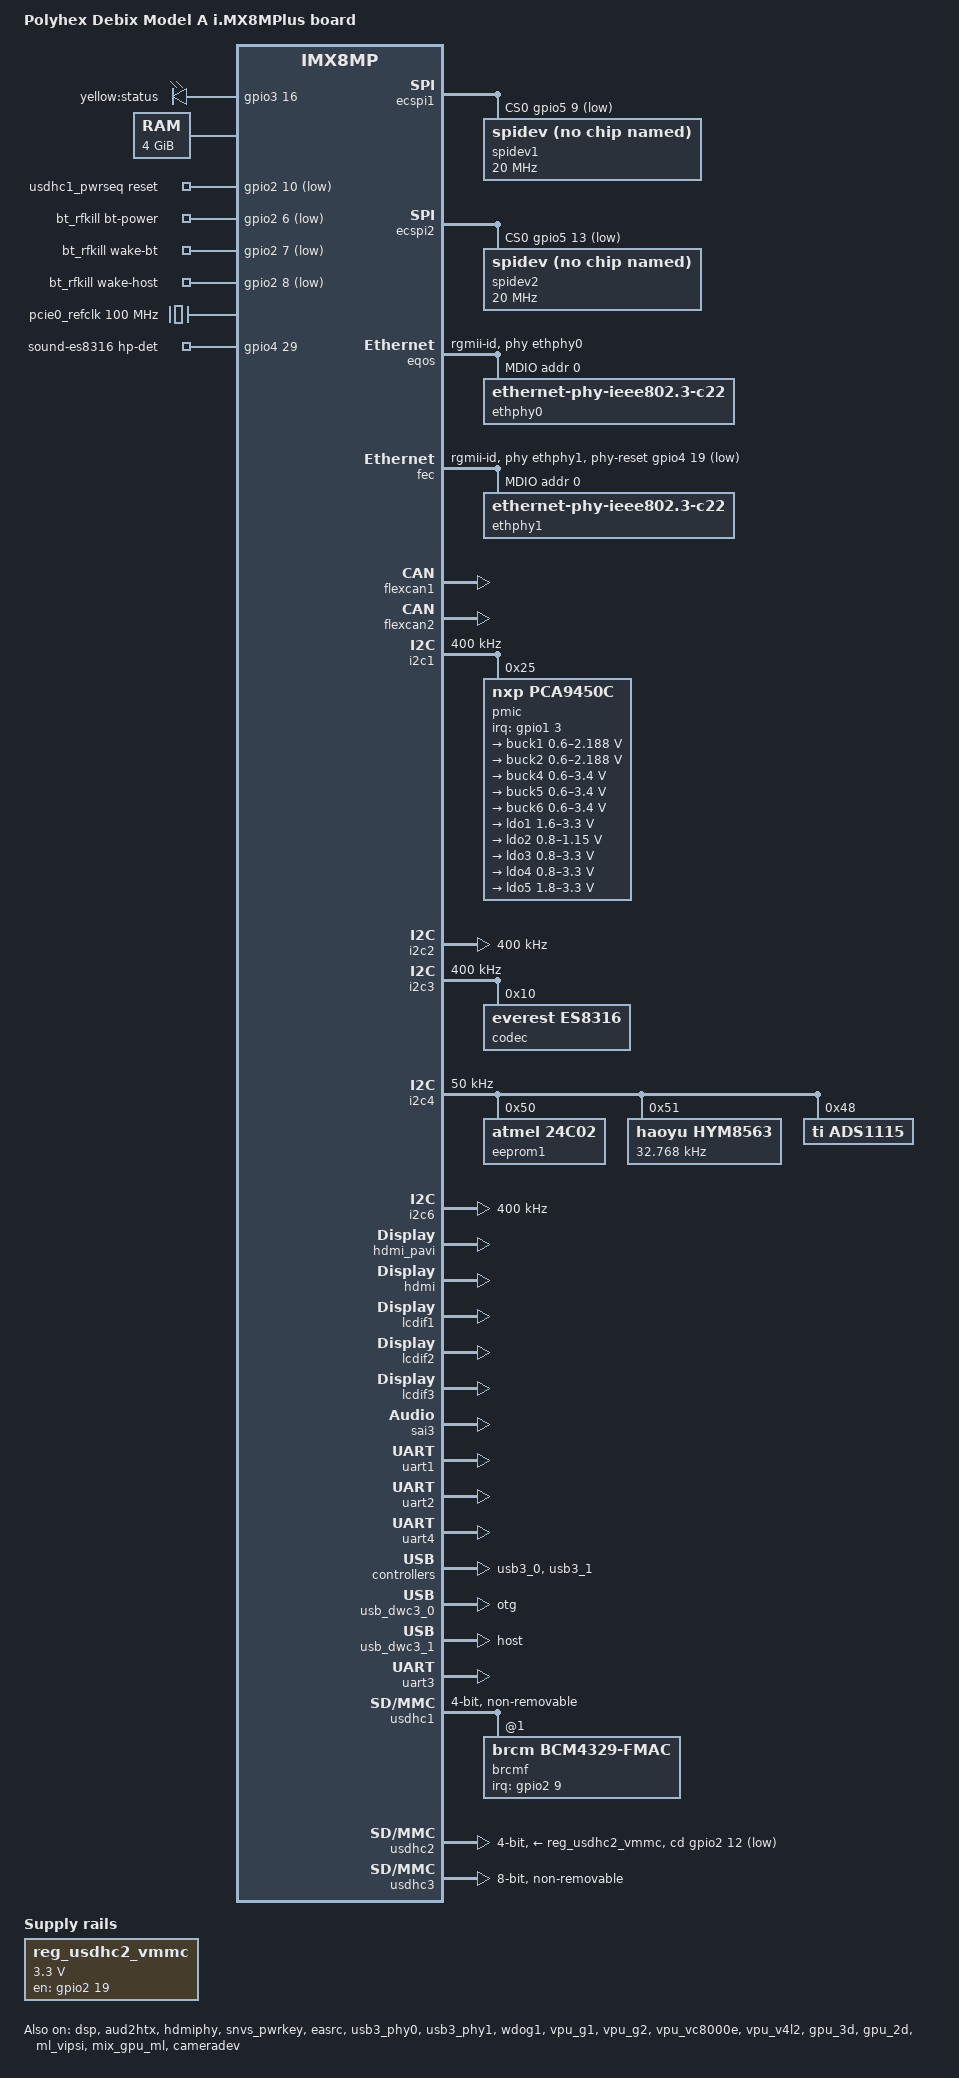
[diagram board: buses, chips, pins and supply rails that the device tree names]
// SPDX-License-Identifier: (GPL-2.0+ OR MIT)
/*
 * Copyright 2019 NXP
 */

/dts-v1/;

#include <dt-bindings/phy/phy-imx8-pcie.h>
#include <dt-bindings/usb/pd.h>

#include "imx8mp.dtsi"

/ {
	model = "Polyhex Debix Model A i.MX8MPlus board";
	compatible = "polyhex,imx8mp-debix-model-a", "polyhex,imx8mp-debix", "fsl,imx8mp";

	chosen {
		stdout-path = &uart2;
	};

	gpio-leds {
		compatible = "gpio-leds";
		pinctrl-names = "default";
		pinctrl-0 = <&pinctrl_gpio_led>;

		status {
			label = "yellow:status";
			gpios = <&gpio3 16 GPIO_ACTIVE_HIGH>;
			default-state = "on";
		};
	};
//4GB ddr
	memory@40000000 {
		device_type = "memory";
		reg = <0x0 0x40000000 0 0xc0000000>,
		      <0x1 0x00000000 0 0x40000000>;
	};

	usdhc1_pwrseq: usdhc1_pwrseq {
		compatible = "mmc-pwrseq-simple";
		pinctrl-names = "default";
		pinctrl-0 = <&pinctrl_wlan_reg_on>;  
		reset-gpios = <&gpio2 10 GPIO_ACTIVE_LOW>;
  	};

	bt_rfkill {
		compatible = "fsl,mxc_bt_rfkill";
		pinctrl-names = "default";
		pinctrl-0 = <&pinctrl_bt_ctrl>;
		bt-power-gpios = <&gpio2 6 GPIO_ACTIVE_LOW>;
		wake-bt-gpios =  <&gpio2 7 GPIO_ACTIVE_LOW>;
		wake-host-gpios = <&gpio2 8 GPIO_ACTIVE_LOW>;
		status ="okay";
	};

	pcie0_refclk: pcie0-refclk {
		compatible = "fixed-clock";
		#clock-cells = <0>;
		clock-frequency = <100000000>;
	};
 


	reg_usdhc2_vmmc: regulator-usdhc2 {
		compatible = "regulator-fixed";
		pinctrl-names = "default";
		pinctrl-0 = <&pinctrl_reg_usdhc2_vmmc>;
		regulator-name = "VSD_3V3";
		regulator-min-microvolt = <3300000>;
		regulator-max-microvolt = <3300000>;
		gpio = <&gpio2 19 GPIO_ACTIVE_HIGH>;
		enable-active-high;
	};

	sound-es8316 {
		compatible = "fsl,imx-audio-es8316";
		model = "es8316-audio";
		audio-cpu = <&sai3>;
		audio-codec = <&codec>;
		//audio-asrc = <&easrc>;
		format = "i2s";
		hp-det-gpio = <&gpio4 29 GPIO_ACTIVE_HIGH>;
	//	mic-det-gpio = <&gpio4 29 GPIO_ACTIVE_HIGH>;
		//jack-gpio = <&gpio4 29 GPIO_ACTIVE_HIGH>;
		//audio-widgets = 
			//"Microphone", "Mic Jack",
			//"Headphone", "Headphone Jack";

		audio-routing =
			"Mic Jack", "MIC2",
			//"MIC2", "Mic Jack",
			//"MIC2", "DMIC",
			"Headphone Jack", "HPOL",
			"Headphone Jack", "HPOR";
	};

	sound-hdmi {
		compatible = "fsl,imx-audio-hdmi";
		model = "audio-hdmi";
		audio-cpu = <&aud2htx>;
		hdmi-out;
	};

	reserved-memory {
		#address-cells = <2>;
		#size-cells = <2>;
		ranges;

		dsp_vdev0vring0: vdev0vring0@942f0000 {
			reg = <0 0x942f0000 0 0x8000>;
			no-map;
		};

		dsp_vdev0vring1: vdev0vring1@942f8000 {
			reg = <0 0x942f8000 0 0x8000>;
			no-map;
		};

		dsp_vdev0buffer: vdev0buffer@94300000 {
			compatible = "shared-dma-pool";
			reg = <0 0x94300000 0 0x100000>;
			no-map;
		};
	};
	lvds_backlight: lvds_backlight {
		compatible = "pwm-backlight";
		pwms = <&pwm2 0 100000 0>;
		status = "disabled";

		brightness-levels = < 0  1  2  3  4  5  6  7  8  9
				     10 11 12 13 14 15 16 17 18 19
				     20 21 22 23 24 25 26 27 28 29
				     30 31 32 33 34 35 36 37 38 39
				     40 41 42 43 44 45 46 47 48 49
				     50 51 52 53 54 55 56 57 58 59
				     60 61 62 63 64 65 66 67 68 69
				     70 71 72 73 74 75 76 77 78 79
				     80 81 82 83 84 85 86 87 88 89
				     90 91 92 93 94 95 96 97 98 99
				    100>;
		default-brightness-level = <80>;
	};
	lvds0_panel: lvds0_panel {
                status = "disabled";
                compatible = "debix,JW050R0320I01";
                pinctrl-names = "default";
                pinctrl-0 = <&pinctrl_lvds_en>;
                enable-gpios = <&gpio5 4 GPIO_ACTIVE_HIGH>;

                backlight = <&lvds_backlight>;
                port {
                        panel_lvds_in: endpoint {
                        remote-endpoint = <&lvds_out>;
                        };
                };

        };
};

&flexspi {
	pinctrl-names = "default";
	pinctrl-0 = <&pinctrl_flexspi0>;
	status = "disabled";

	flash@0 {
		compatible = "jedec,spi-nor";
		reg = <0>;
		spi-max-frequency = <80000000>;
		spi-tx-bus-width = <1>;
		spi-rx-bus-width = <4>;
	};
};

&A53_0 {
	cpu-supply = <&buck2>;
};

&A53_1 {
	cpu-supply = <&buck2>;
};

&A53_2 {
	cpu-supply = <&buck2>;
};

&A53_3 {
	cpu-supply = <&buck2>;
};

&dsp {
	status = "okay";
};

&pwm2 {
        pinctrl-names = "default";
        pinctrl-0 = <&pinctrl_pwm2>;
        status = "disabled";
};

&aud2htx {
	status = "okay";
};

&ecspi1 {
	#address-cells = <1>;
	#size-cells = <0>;
	fsl,spi-num-chipselects = <1>;
	pinctrl-names = "default";
	pinctrl-0 = <&pinctrl_ecspi1 &pinctrl_ecspi1_cs>;
	cs-gpios = <&gpio5 9 GPIO_ACTIVE_LOW>;
	status = "okay";
	spidev1: spi@0 {
		reg = <0>;
		compatible = "rohm,dh2228fv";
		spi-max-frequency = <20000000>;
	};
};

&ecspi2 {
	#address-cells = <1>;
	#size-cells = <0>;
	fsl,spi-num-chipselects = <1>;
	pinctrl-names = "default";
	pinctrl-0 = <&pinctrl_ecspi2 &pinctrl_ecspi2_cs>;
	cs-gpios = <&gpio5 13 GPIO_ACTIVE_LOW>;
	status = "okay";

	spidev2: spi@0 {
		reg = <0>;
		compatible = "rohm,dh2228fv";
		spi-max-frequency = <20000000>;
	};
};

&eqos {
	pinctrl-names = "default";
	pinctrl-0 = <&pinctrl_eqos>;
	phy-mode = "rgmii-id";
	phy-handle = <&ethphy0>;
	snps,force_thresh_dma_mode;
	snps,mtl-tx-config = <&mtl_tx_setup>;
	snps,mtl-rx-config = <&mtl_rx_setup>;
	snps,reset-gpios = <&gpio4 18 GPIO_ACTIVE_LOW>;
	snps,reset-delays-us = <10 20 200000>;
	status = "okay";

	mdio {
		compatible = "snps,dwmac-mdio";
		#address-cells = <1>;
		#size-cells = <0>;

		ethphy0: ethernet-phy@0 {
			compatible = "ethernet-phy-ieee802.3-c22";
			reg = <0>;
			//reset-gpios = <&gpio4 22 GPIO_ACTIVE_LOW>;
			//reset-assert-us = <10000>;
			//reset-deassert-us = <80000>;
			//realtek,clkout-disable;
			at803x,led-act-blind-workaround;
			at803x,eee-disabled;
			at803x,vddio-1p8v;
		};
	};

	mtl_tx_setup: tx-queues-config {
		snps,tx-queues-to-use = <5>;

		queue0 {
			snps,dcb-algorithm;
			snps,priority = <0x1>;
		};

		queue1 {
			snps,dcb-algorithm;
			snps,priority = <0x2>;
		};

		queue2 {
			snps,dcb-algorithm;
			snps,priority = <0x4>;
		};

		queue3 {
			snps,dcb-algorithm;
			snps,priority = <0x8>;
		};

		queue4 {
			snps,dcb-algorithm;
			snps,priority = <0xf0>;
		};
	};

	mtl_rx_setup: rx-queues-config {
		snps,rx-queues-to-use = <5>;
		snps,rx-sched-sp;

		queue0 {
			snps,dcb-algorithm;
			snps,priority = <0x1>;
			snps,map-to-dma-channel = <0>;
		};

		queue1 {
			snps,dcb-algorithm;
			snps,priority = <0x2>;
			snps,map-to-dma-channel = <1>;
		};

		queue2 {
			snps,dcb-algorithm;
			snps,priority = <0x4>;
			snps,map-to-dma-channel = <2>;
		};

		queue3 {
			snps,dcb-algorithm;
			snps,priority = <0x8>;
			snps,map-to-dma-channel = <3>;
		};

		queue4 {
			snps,dcb-algorithm;
			snps,priority = <0xf0>;
			snps,map-to-dma-channel = <4>;
		};
	};
};

&fec {
	pinctrl-names = "default";
	pinctrl-0 = <&pinctrl_fec>;
	phy-mode = "rgmii-id";
	phy-handle = <&ethphy1>;
	fsl,magic-packet;
	fsl,rgmii_rxc_dly;
	phy-reset-gpios = <&gpio4 19 GPIO_ACTIVE_LOW>;
	phy-reset-duration = <10>;
	phy-reset-post-delay = <150>;
	status = "okay";

	mdio {
		#address-cells = <1>;
		#size-cells = <0>;

		ethphy1: ethernet-phy@0 {
			compatible = "ethernet-phy-ieee802.3-c22";
			reg = <0>;
			//eee-broken-1000t;
			//reset-gpios = <&gpio4 2 GPIO_ACTIVE_LOW>;
			//reset-assert-us = <10000>;
			//reset-deassert-us = <80000>;
			//realtek,aldps-enable;
			//realtek,clkout-disable;
			at803x,led-act-blind-workaround;
			at803x,eee-disabled;
			at803x,vddio-1p8v;
		};
	};
};

&flexcan1 {
	pinctrl-names = "default";
	pinctrl-0 = <&pinctrl_flexcan1>;
	//xceiver-supply = <&reg_can1_stby>;
	status = "okay";
};

&flexcan2 {
	pinctrl-names = "default";
	pinctrl-0 = <&pinctrl_flexcan2>;
	//xceiver-supply = <&reg_can2_stby>;
	//pinctrl-assert-gpios = <&pca6416 3 GPIO_ACTIVE_HIGH>;
	status = "okay";/* can2 pin conflict with pdm */
};

&i2c1 {
	clock-frequency = <400000>;
	pinctrl-names = "default";
	pinctrl-0 = <&pinctrl_i2c1>;
	status = "okay";

	pmic@25 {
		compatible = "nxp,pca9450c";
		reg = <0x25>;
		pinctrl-names = "default";
		pinctrl-0 = <&pinctrl_pmic>;
		interrupt-parent = <&gpio1>;
		interrupts = <3 IRQ_TYPE_LEVEL_LOW>;

		regulators {
			buck1: BUCK1 {
				regulator-name = "BUCK1";
				regulator-min-microvolt = <600000>;
				regulator-max-microvolt = <2187500>;
				regulator-boot-on;
				regulator-always-on;
				regulator-ramp-delay = <3125>;
			};

			buck2: BUCK2 {
				regulator-name = "BUCK2";
				regulator-min-microvolt = <600000>;
				regulator-max-microvolt = <2187500>;
				regulator-boot-on;
				regulator-always-on;
				regulator-ramp-delay = <3125>;
				nxp,dvs-run-voltage = <950000>;
				nxp,dvs-standby-voltage = <850000>;
			};

			buck4: BUCK4{
				regulator-name = "BUCK4";
				regulator-min-microvolt = <600000>;
				regulator-max-microvolt = <3400000>;
				regulator-boot-on;
				regulator-always-on;
			};

			buck5: BUCK5{
				regulator-name = "BUCK5";
				regulator-min-microvolt = <600000>;
				regulator-max-microvolt = <3400000>;
				regulator-boot-on;
				regulator-always-on;
			};

			buck6: BUCK6 {
				regulator-name = "BUCK6";
				regulator-min-microvolt = <600000>;
				regulator-max-microvolt = <3400000>;
				regulator-boot-on;
				regulator-always-on;
			};

			ldo1: LDO1 {
				regulator-name = "LDO1";
				regulator-min-microvolt = <1600000>;
				regulator-max-microvolt = <3300000>;
				regulator-boot-on;
				regulator-always-on;
			};

			ldo2: LDO2 {
				regulator-name = "LDO2";
				regulator-min-microvolt = <800000>;
				regulator-max-microvolt = <1150000>;
				regulator-boot-on;
				regulator-always-on;
			};

			ldo3: LDO3 {
				regulator-name = "LDO3";
				regulator-min-microvolt = <800000>;
				regulator-max-microvolt = <3300000>;
				regulator-boot-on;
				regulator-always-on;
			};

			ldo4: LDO4 {
				regulator-name = "LDO4";
				regulator-min-microvolt = <800000>;
				regulator-max-microvolt = <3300000>;
				regulator-boot-on;
				regulator-always-on;
			};

			ldo5: LDO5 {
				regulator-name = "LDO5";
				regulator-min-microvolt = <1800000>;
				regulator-max-microvolt = <3300000>;
				regulator-boot-on;
				regulator-always-on;
			};
		};
	};
};

&i2c2 {
	clock-frequency = <400000>;
	pinctrl-names = "default";
	pinctrl-0 = <&pinctrl_i2c2>;
	status = "okay";

};

&i2c3 {
	clock-frequency = <400000>;
	pinctrl-names = "default";
	pinctrl-0 = <&pinctrl_i2c3>;
	status = "okay";

	codec: es8316@10 {
		compatible = "everest,es8316";
		reg = <0x10>;
		clocks = <&audio_blk_ctrl IMX8MP_CLK_AUDIOMIX_SAI3_MCLK1>;
		clock-names = "mclk";
	};
};

&i2c4 {
	clock-frequency = <50000>;
	pinctrl-names = "default";
	pinctrl-0 = <&pinctrl_i2c4>;
	status = "okay";
	
	eeprom1: eeprom@50 {
		compatible = "atmel,24c02";
		reg = <0x50>;
		pagesize = <16>;
	};
	
	hym8563: hym8563@51 {
		compatible = "haoyu,hym8563";
		reg = <0x51>;
		#clock-cells = <0>;
		clock-frequency = <32768>;
		clock-output-names = "xin32k";
		init_date="2022/04/12";
		//interrupt-parent = <&gpio2>;
		//interrupts = <11 IRQ_TYPE_EDGE_FALLING>;
		
		//pinctrl-names = "default";
		//pinctrl-0 = <&pinctrl_rtc_int>;
	};
	ads1115: ads1115@48 {
		 compatible = "ti,ads1115";
		 status = "okay";
		 #address-cells = <1>;
		 #size-cells = <0>;
		 reg = <0x48>;

		 channel@4 {
			 reg = <4>;
			 ti,gain = <1>;
			 ti,datarate = <4>;
		 };
		 channel@5 {
			 reg = <5>;
			 ti,gain = <1>;
			 ti,datarate = <4>;
		 };
		 channel@3 {
			 reg = <3>;
			 ti,gain = <1>;
			 ti,datarate = <4>;
		 };
		 channel@6 {
			 reg = <6>;
			 ti,gain = <1>;
			 ti,datarate = <4>;
		 };

		 channel@7 {
			 reg = <7>;
			 ti,gain = <1>;
			 ti,datarate = <4>;
		 };
	 };

};

#if 0
/* I2C on expansion connector J22. */
&i2c5 {
	clock-frequency = <100000>; /* Lower clock speed for external bus. */
	pinctrl-names = "default";
	pinctrl-0 = <&pinctrl_i2c5>;
	status = "disabled"; /* can1 pins conflict with i2c5 */

	/* GPIO 2 of PCA6416 is used to switch between CAN1 and I2C5 functions:
	 *     LOW:  CAN1 (default, pull-down)
	 *     HIGH: I2C5
	 * You need to set it to high to enable I2C5 (for example, add gpio-hog
	 * in pca6416 node).
	 */
};
#endif
&i2c6 {
	clock-frequency = <400000>;
	pinctrl-names = "default";
	pinctrl-0 = <&pinctrl_i2c6>;
	status = "okay";
};

&hdmi_pavi {
	status = "okay";
};

&hdmi {
	status = "okay";
};

&hdmiphy {
	status = "okay";
};

&lcdif1 {
	status = "okay";
};

&lcdif2 {
	status = "okay";
};

&lcdif3 {
	status = "okay";

	thres-low  = <1 2>;             /* (FIFO * 1 / 2) */
	thres-high = <3 4>;             /* (FIFO * 3 / 4) */
};

&ldb {
	status = "disabled";
	lvds-channel@0 {
                //fsl,data-mapping = "jeida";
                //fsl,data-mappin  = "spwg";
                //fsl,data-width = <18>;
                //fsl,data-width = <24>;
                //status = "okay";

                /delete-node/ port@1;

                port@1 {
                        reg = <1>;

                        lvds_out: endpoint {
                                remote-endpoint = <&panel_lvds_in>;
                        };
                };
        };


};

&ldb_phy {
	status = "disabled";
};

&mipi_dsi {
	status = "disabled";
};

&pcie_phy {
	fsl,refclk-pad-mode = <IMX8_PCIE_REFCLK_PAD_INPUT>;
	clocks = <&pcie0_refclk>;
	clock-names = "ref";
	status = "disabled";
};

&pcie {
	pinctrl-names = "default";
	pinctrl-0 = <&pinctrl_pcie0>;
	reset-gpio = <&gpio4 27 GPIO_ACTIVE_LOW>;
	//host-wake-gpio = <&gpio5 21 GPIO_ACTIVE_LOW>;
	//vpcie-supply = <&reg_pcie0>;
	status = "disabled";
};

&pwm1 {
	pinctrl-names = "default";
	pinctrl-0 = <&pinctrl_pwm1>;
	status = "disabled";
};
&sai3 {
	pinctrl-names = "default";
	pinctrl-0 = <&pinctrl_sai3>;
	assigned-clocks = <&clk IMX8MP_CLK_SAI3>;
	assigned-clock-parents = <&clk IMX8MP_AUDIO_PLL1_OUT>;
	assigned-clock-rates = <12288000>;
	clocks = <&audio_blk_ctrl IMX8MP_CLK_AUDIOMIX_SAI3_IPG>, <&clk IMX8MP_CLK_DUMMY>,
		 <&audio_blk_ctrl IMX8MP_CLK_AUDIOMIX_SAI3_MCLK1>, <&clk IMX8MP_CLK_DUMMY>,
		 <&clk IMX8MP_CLK_DUMMY>;
	clock-names = "bus", "mclk0", "mclk1", "mclk2", "mclk3";
	fsl,sai-mclk-direction-output;
	status = "okay";
};

&snvs_pwrkey {
	status = "okay";
};

&easrc {
	fsl,asrc-rate  = <48000>;
	status = "okay";
};

&sdma2 {
	status = "okay";
};

&uart1 { /* BT */
	pinctrl-names = "default";
	pinctrl-0 = <&pinctrl_uart1>;
	assigned-clocks = <&clk IMX8MP_CLK_UART1>;
	assigned-clock-parents = <&clk IMX8MP_SYS_PLL1_80M>;
	uart-has-rtscts;
	status = "okay";

//	bluetooth {
//		compatible = "nxp,88w8997-bt";
//	};
};

&uart2 {
	/* console */
	pinctrl-names = "default";
	pinctrl-0 = <&pinctrl_uart2>;
	status = "okay";
};

&uart4 {
	pinctrl-names = "default";
	pinctrl-0 = <&pinctrl_uart4>;
	status = "okay";
};

&usb3_phy0 {
#if 0
	fsl,phy-tx-vref-tune-percent = <122>;
	fsl,phy-tx-preemp-amp-tune-microamp = <1800>;
	fsl,phy-tx-vboost-level-microvolt = <1156>;
	fsl,phy-comp-dis-tune-percent = <115>;
	fsl,phy-pcs-tx-deemph-3p5db-attenuation-db = <33>;
	fsl,phy-pcs-tx-swing-full-percent = <100>;
#endif
	status = "okay";
};

&usb3_0 {
	status = "okay";
};

&usb_dwc3_0 {
	dr_mode = "otg";
	hnp-disable;
	srp-disable;
	adp-disable;
	usb-role-switch;
//	role-switch-default-mode = "none";
	snps,dis-u1-entry-quirk;
	snps,dis-u2-entry-quirk;
	status = "okay";

};

&usb3_phy1 {
	fsl,phy-tx-preemp-amp-tune-microamp = <1800>;
	fsl,phy-tx-vref-tune-percent = <116>;
	status = "okay";
};

&usb3_1 {
	status = "okay";
};

&usb_dwc3_1 {
	//vbus-supply = <&reg_usb_vbus>;
	pinctrl-names = "default";
	pinctrl-0 = <&pinctrl_usb1_vbus>;
	hub-pwd-gpio = <&gpio4 26 GPIO_ACTIVE_LOW>;
	hub-reset-gpio = <&gpio4 25 GPIO_ACTIVE_LOW>;
	dr_mode = "host";
	status = "okay";
};

&uart3 {
	pinctrl-names = "default";
	pinctrl-0 = <&pinctrl_uart3>;
	status = "okay";
};

/*WIFI BUS */
&usdhc1 {
	#address-cells = <1>;
	#size-cells = <0>;
	pinctrl-names = "default", "state_100mhz", "state_200mhz";
	pinctrl-0 = <&pinctrl_usdhc1>, <&pinctrl_wlan_wake_host>;
	pinctrl-1 = <&pinctrl_usdhc1_100mhz>, <&pinctrl_wlan_wake_host>;
	pinctrl-2 = <&pinctrl_usdhc1_200mhz>, <&pinctrl_wlan_wake_host>;
	bus-width = <4>;
	pm-ignore-notify;
	keep-power-in-suspend;
	non-removable;
	cap-power-off-card;
	/delete-property/ vmmc-supply;
	mmc-pwrseq = <&usdhc1_pwrseq>;
	status = "okay";
	max-frequency = <100000000>;

	brcmf: bcrmf@1 {
		reg = <1>;
		compatible = "brcm,bcm4329-fmac";
		interrupt-parent = <&gpio2>;
		interrupts = <9 IRQ_TYPE_LEVEL_HIGH>; //wlan wake host
		interrupt-names = "host-wake";
	};
};

/*TF Card */
&usdhc2 {
	assigned-clocks = <&clk IMX8MP_CLK_USDHC2>;
	assigned-clock-rates = <400000000>;
	pinctrl-names = "default", "state_100mhz", "state_200mhz";
	pinctrl-0 = <&pinctrl_usdhc2>, <&pinctrl_usdhc2_gpio>;
	pinctrl-1 = <&pinctrl_usdhc2_100mhz>, <&pinctrl_usdhc2_gpio>;
	pinctrl-2 = <&pinctrl_usdhc2_200mhz>, <&pinctrl_usdhc2_gpio>;
	cd-gpios = <&gpio2 12 GPIO_ACTIVE_LOW>;
	vmmc-supply = <&reg_usdhc2_vmmc>;
	bus-width = <4>;
	status = "okay";
};

/*emmc*/
&usdhc3 {
	assigned-clocks = <&clk IMX8MP_CLK_USDHC3>;
	assigned-clock-rates = <400000000>;
	pinctrl-names = "default", "state_100mhz", "state_200mhz";
	pinctrl-0 = <&pinctrl_usdhc3>;
	pinctrl-1 = <&pinctrl_usdhc3_100mhz>;
	pinctrl-2 = <&pinctrl_usdhc3_200mhz>;
	bus-width = <8>;
	non-removable;
	status = "okay";
};

&wdog1 {
	pinctrl-names = "default";
	pinctrl-0 = <&pinctrl_wdog>;
	fsl,ext-reset-output;
	status = "okay";
};

&iomuxc {
	pinctrl-names = "default";
	pinctrl-0 = <&pinctrl_hog>;
 
	pinctrl_ecspi1: ecspi1grp {
		fsl,pins = <
			MX8MP_IOMUXC_ECSPI1_SCLK__ECSPI1_SCLK		0x82
			MX8MP_IOMUXC_ECSPI1_MOSI__ECSPI1_MOSI		0x82
			MX8MP_IOMUXC_ECSPI1_MISO__ECSPI1_MISO		0x82
		>;
	};
	
	pinctrl_ecspi1_cs: ecspi1cs {
		fsl,pins = <
			MX8MP_IOMUXC_ECSPI1_SS0__GPIO5_IO09		0x40000
		>;
	};
	pinctrl_ecspi2: ecspi2grp {
		fsl,pins = <
			MX8MP_IOMUXC_ECSPI2_SCLK__ECSPI2_SCLK		0x82
			MX8MP_IOMUXC_ECSPI2_MOSI__ECSPI2_MOSI		0x82
			MX8MP_IOMUXC_ECSPI2_MISO__ECSPI2_MISO		0x82
		>;
	};

	pinctrl_ecspi2_cs: ecspi2cs {
		fsl,pins = <
			MX8MP_IOMUXC_ECSPI2_SS0__GPIO5_IO13		0x40000
		>;
	};

	pinctrl_eqos: eqosgrp {
		fsl,pins = <
			MX8MP_IOMUXC_ENET_MDC__ENET_QOS_MDC				0x2
			MX8MP_IOMUXC_ENET_MDIO__ENET_QOS_MDIO				0x2
			MX8MP_IOMUXC_ENET_RD0__ENET_QOS_RGMII_RD0			0x90
			MX8MP_IOMUXC_ENET_RD1__ENET_QOS_RGMII_RD1			0x90
			MX8MP_IOMUXC_ENET_RD2__ENET_QOS_RGMII_RD2			0x90
			MX8MP_IOMUXC_ENET_RD3__ENET_QOS_RGMII_RD3			0x90
			MX8MP_IOMUXC_ENET_RXC__CCM_ENET_QOS_CLOCK_GENERATE_RX_CLK	0x90
			MX8MP_IOMUXC_ENET_RX_CTL__ENET_QOS_RGMII_RX_CTL			0x90
			MX8MP_IOMUXC_ENET_TD0__ENET_QOS_RGMII_TD0			0x16
			MX8MP_IOMUXC_ENET_TD1__ENET_QOS_RGMII_TD1			0x16
			MX8MP_IOMUXC_ENET_TD2__ENET_QOS_RGMII_TD2			0x16
			MX8MP_IOMUXC_ENET_TD3__ENET_QOS_RGMII_TD3			0x16
			MX8MP_IOMUXC_ENET_TX_CTL__ENET_QOS_RGMII_TX_CTL			0x16
			MX8MP_IOMUXC_ENET_TXC__CCM_ENET_QOS_CLOCK_GENERATE_TX_CLK	0x16
			MX8MP_IOMUXC_SAI1_RXFS__ENET1_1588_EVENT0_IN    0x16
			MX8MP_IOMUXC_SAI1_RXC__ENET1_1588_EVENT0_OUT    0x16
			MX8MP_IOMUXC_SAI1_TXD6__GPIO4_IO18		0x10
		>;
	};

	pinctrl_fec: fecgrp {
		fsl,pins = <
			MX8MP_IOMUXC_SAI1_RXD2__ENET1_MDC		0x2
			MX8MP_IOMUXC_SAI1_RXD3__ENET1_MDIO		0x2
			MX8MP_IOMUXC_SAI1_RXD4__ENET1_RGMII_RD0		0x90
			MX8MP_IOMUXC_SAI1_RXD5__ENET1_RGMII_RD1		0x90
			MX8MP_IOMUXC_SAI1_RXD6__ENET1_RGMII_RD2		0x90
			MX8MP_IOMUXC_SAI1_RXD7__ENET1_RGMII_RD3		0x90
			MX8MP_IOMUXC_SAI1_TXC__ENET1_RGMII_RXC		0x90
			MX8MP_IOMUXC_SAI1_TXFS__ENET1_RGMII_RX_CTL	0x90
			MX8MP_IOMUXC_SAI1_TXD0__ENET1_RGMII_TD0		0x16
			MX8MP_IOMUXC_SAI1_TXD1__ENET1_RGMII_TD1		0x16
			MX8MP_IOMUXC_SAI1_TXD2__ENET1_RGMII_TD2		0x16
			MX8MP_IOMUXC_SAI1_TXD3__ENET1_RGMII_TD3		0x16
			MX8MP_IOMUXC_SAI1_TXD4__ENET1_RGMII_TX_CTL	0x16
			MX8MP_IOMUXC_SAI1_TXD5__ENET1_RGMII_TXC		0x16
			MX8MP_IOMUXC_SAI1_RXD1__ENET1_1588_EVENT1_OUT   0x16
			MX8MP_IOMUXC_SAI1_RXD0__ENET1_1588_EVENT1_IN    0x16
			MX8MP_IOMUXC_SAI1_TXD7__GPIO4_IO19		0x10
		>;
	};

	pinctrl_flexcan1: flexcan1grp {
		fsl,pins = <
			//MX8MP_IOMUXC_SPDIF_RX__CAN1_RX          0x154
			//MX8MP_IOMUXC_SPDIF_TX__CAN1_TX          0x154
			MX8MP_IOMUXC_SAI5_RXD2__CAN1_RX          0x154
			MX8MP_IOMUXC_SAI5_RXD1__CAN1_TX          0x154
		>;
	};

	pinctrl_flexcan2: flexcan2grp {
		fsl,pins = <
			MX8MP_IOMUXC_SAI5_MCLK__CAN2_RX         0x154
			MX8MP_IOMUXC_SAI5_RXD3__CAN2_TX         0x154
		>;
	};
	pinctrl_flexspi0: flexspi0grp {
		fsl,pins = <
			MX8MP_IOMUXC_NAND_ALE__FLEXSPI_A_SCLK           0x1c2
			MX8MP_IOMUXC_NAND_CE0_B__FLEXSPI_A_SS0_B        0x82
			MX8MP_IOMUXC_NAND_DATA00__FLEXSPI_A_DATA00      0x82
			MX8MP_IOMUXC_NAND_DATA01__FLEXSPI_A_DATA01      0x82
			MX8MP_IOMUXC_NAND_DATA02__FLEXSPI_A_DATA02      0x82
			MX8MP_IOMUXC_NAND_DATA03__FLEXSPI_A_DATA03      0x82
		>;
	};

	pinctrl_gpio_led: gpioledgrp {
		fsl,pins = <
			MX8MP_IOMUXC_NAND_READY_B__GPIO3_IO16	0x140
		>;
	};

	pinctrl_hog: hoggrp {
		fsl,pins = <
			MX8MP_IOMUXC_HDMI_DDC_SCL__HDMIMIX_HDMI_SCL	0x400001c2
			MX8MP_IOMUXC_HDMI_DDC_SDA__HDMIMIX_HDMI_SDA	0x400001c2
			MX8MP_IOMUXC_HDMI_HPD__HDMIMIX_HDMI_HPD		0x40000010
			MX8MP_IOMUXC_HDMI_CEC__HDMIMIX_HDMI_CEC		0x40000010

			/*
			 * M.2 pin20 & pin21 need to be set to 11 for 88W9098 to select the
			 * default Reference Clock Frequency
			 */
			//MX8MP_IOMUXC_SD1_DATA7__GPIO2_IO09		0x1c4
		>;
	};

	pinctrl_i2c1: i2c1grp {
		fsl,pins = <
			MX8MP_IOMUXC_I2C1_SCL__I2C1_SCL		0x400001c2
			MX8MP_IOMUXC_I2C1_SDA__I2C1_SDA		0x400001c2
		>;
	};

	pinctrl_i2c2: i2c2grp {
		fsl,pins = <
			MX8MP_IOMUXC_I2C2_SCL__I2C2_SCL		0x400001c2
			MX8MP_IOMUXC_I2C2_SDA__I2C2_SDA		0x400001c2
		>;
	};

	pinctrl_i2c3: i2c3grp {
		fsl,pins = <
			MX8MP_IOMUXC_I2C3_SCL__I2C3_SCL		0x400001c2
			MX8MP_IOMUXC_I2C3_SDA__I2C3_SDA		0x400001c2
		>;
	};
	pinctrl_i2c4: i2c4grp {
		fsl,pins = <
			MX8MP_IOMUXC_I2C4_SCL__I2C4_SCL		0x400001c3
			MX8MP_IOMUXC_I2C4_SDA__I2C4_SDA		0x400001c3
		>;
	};
	pinctrl_i2c6: i2c6grp {
		fsl,pins = <
			MX8MP_IOMUXC_SAI5_RXFS__I2C6_SCL		0x400001c3
			MX8MP_IOMUXC_SAI5_RXC__I2C6_SDA		0x400001c3
		>;
	};
	
	pinctrl_mipi_dsi_en: mipi_dsi_en {
		fsl,pins = <
			MX8MP_IOMUXC_GPIO1_IO08__GPIO1_IO08	0x16
		>;
	};

	pinctrl_pcie0: pcie0grp {
		fsl,pins = <
			MX8MP_IOMUXC_I2C4_SCL__PCIE_CLKREQ_B	0x60 /* open drain, pull up */
			MX8MP_IOMUXC_SD1_DATA5__GPIO2_IO07	0x40
			MX8MP_IOMUXC_I2C4_SDA__GPIO5_IO21	0x1c4
		>;
	};

	pinctrl_pdm: pdmgrp {
		fsl,pins = <
			MX8MP_IOMUXC_SAI5_RXC__AUDIOMIX_PDM_CLK		0xd6
			MX8MP_IOMUXC_SAI5_RXD0__AUDIOMIX_PDM_BIT_STREAM00	0xd6
			MX8MP_IOMUXC_SAI5_RXD1__AUDIOMIX_PDM_BIT_STREAM01	0xd6
			MX8MP_IOMUXC_SAI5_RXD2__AUDIOMIX_PDM_BIT_STREAM02	0xd6
			MX8MP_IOMUXC_SAI5_RXD3__AUDIOMIX_PDM_BIT_STREAM03	0xd6
		>;
	};

	pinctrl_pmic: pmicgrp {
		fsl,pins = <
			MX8MP_IOMUXC_GPIO1_IO03__GPIO1_IO03	0x000001c0
		>;
	};
	pinctrl_pwm1: pwm1grp {
		fsl,pins = <
			MX8MP_IOMUXC_GPIO1_IO01__PWM1_OUT	0x116
		>;
	};

	pinctrl_reg_usdhc2_vmmc: regusdhc2vmmcgrp {
		fsl,pins = <
			MX8MP_IOMUXC_SD2_RESET_B__GPIO2_IO19	0x40
		>;
	};

	pinctrl_uart1: uart1grp {
		fsl,pins = <
			MX8MP_IOMUXC_UART1_RXD__UART1_DCE_RX	0x140
			MX8MP_IOMUXC_UART1_TXD__UART1_DCE_TX	0x140
			MX8MP_IOMUXC_SAI2_TXFS__UART1_DCE_CTS	0x140
			MX8MP_IOMUXC_SAI2_RXD0__UART1_DCE_RTS	0x140
		>;
	};

	pinctrl_sai3: sai3grp {
		fsl,pins = <
			MX8MP_IOMUXC_SAI3_TXFS__AUDIOMIX_SAI3_TX_SYNC	0xd6
			MX8MP_IOMUXC_SAI3_TXC__AUDIOMIX_SAI3_TX_BCLK	0xd6
			MX8MP_IOMUXC_SAI3_RXD__AUDIOMIX_SAI3_RX_DATA00	0xd6
			MX8MP_IOMUXC_SAI3_TXD__AUDIOMIX_SAI3_TX_DATA00	0xd6
			MX8MP_IOMUXC_SAI3_MCLK__AUDIOMIX_SAI3_MCLK	0xd6
			MX8MP_IOMUXC_SAI3_RXFS__AUDIOMIX_SAI3_RX_SYNC	0xd6
			MX8MP_IOMUXC_SAI3_RXC__GPIO4_IO29		0xd6
		>;
	};

	pinctrl_uart2: uart2grp {
		fsl,pins = <
			MX8MP_IOMUXC_UART2_RXD__UART2_DCE_RX	0x14f
			MX8MP_IOMUXC_UART2_TXD__UART2_DCE_TX	0x14f
		>;
	};
	pinctrl_uart3: uart3grp {
		fsl,pins = <
			MX8MP_IOMUXC_UART3_RXD__UART3_DCE_RX		0x49
			MX8MP_IOMUXC_UART3_TXD__UART3_DCE_TX		0x49
		>;
	};
	
	pinctrl_uart4: uart4grp {
		fsl,pins = <
			MX8MP_IOMUXC_UART4_RXD__UART4_DCE_RX	0x49
			MX8MP_IOMUXC_UART4_TXD__UART4_DCE_TX	0x49
		>;
	};

	pinctrl_usb1_vbus: usb1grp {
		fsl,pins = < 
			MX8MP_IOMUXC_SAI2_TXC__GPIO4_IO25	 0x19 /*rst*/
			MX8MP_IOMUXC_SAI2_TXD0__GPIO4_IO26	0x19  /*pwd*/
		>;
	};

	pinctrl_bt_ctrl: bt_ctrl {
		fsl,pins = <
			MX8MP_IOMUXC_SD1_DATA4__GPIO2_IO06        0x41
			MX8MP_IOMUXC_SD1_DATA5__GPIO2_IO07        0x41
			MX8MP_IOMUXC_SD1_DATA6__GPIO2_IO08        0x16
		>;
	};

	//WL_REG_ON
	pinctrl_wlan_reg_on: wlan-reg-on-grp {
		fsl,pins = <
			MX8MP_IOMUXC_SD1_RESET_B__GPIO2_IO10     0x41
		>;
	};
	pinctrl_wlan_wake_host: wlanwakehostgrp {
		fsl,pins = <
			MX8MP_IOMUXC_GPIO1_IO00__ANAMIX_REF_CLK_32K      0x141
      			MX8MP_IOMUXC_SD1_DATA7__GPIO2_IO09                0x111 //WL_WAKE_HOST
		>;
	};

	pinctrl_usdhc1: usdhc1grp {
		fsl,pins = <
			MX8MP_IOMUXC_SD1_CLK__USDHC1_CLK	0x190
			MX8MP_IOMUXC_SD1_CMD__USDHC1_CMD	0x1d0
			MX8MP_IOMUXC_SD1_DATA0__USDHC1_DATA0	0x1d0
			MX8MP_IOMUXC_SD1_DATA1__USDHC1_DATA1	0x1d0
			MX8MP_IOMUXC_SD1_DATA2__USDHC1_DATA2	0x1d0
			MX8MP_IOMUXC_SD1_DATA3__USDHC1_DATA3	0x1d0
		>;
	};

		pinctrl_usdhc1_100mhz: usdhc1grp100mhz {
		fsl,pins = <
			MX8MP_IOMUXC_SD1_CLK__USDHC1_CLK         0x194
			MX8MP_IOMUXC_SD1_CMD__USDHC1_CMD         0x1d4
			MX8MP_IOMUXC_SD1_DATA0__USDHC1_DATA0     0x1d4
			MX8MP_IOMUXC_SD1_DATA1__USDHC1_DATA1     0x1d4
			MX8MP_IOMUXC_SD1_DATA2__USDHC1_DATA2     0x1d4
			MX8MP_IOMUXC_SD1_DATA3__USDHC1_DATA3     0x1d4
		>;
  	};

	pinctrl_usdhc1_200mhz: usdhc1grp200mhz {
		fsl,pins = <
			MX8MP_IOMUXC_SD1_CLK__USDHC1_CLK         0x196
			MX8MP_IOMUXC_SD1_CMD__USDHC1_CMD         0x1d6
			MX8MP_IOMUXC_SD1_DATA0__USDHC1_DATA0     0x1d6
			MX8MP_IOMUXC_SD1_DATA1__USDHC1_DATA1     0x1d6
			MX8MP_IOMUXC_SD1_DATA2__USDHC1_DATA2     0x1d6
			MX8MP_IOMUXC_SD1_DATA3__USDHC1_DATA3     0x1d6
		>;
	};

	pinctrl_usdhc2: usdhc2grp {
		fsl,pins = <
			MX8MP_IOMUXC_SD2_CLK__USDHC2_CLK	0x190
			MX8MP_IOMUXC_SD2_CMD__USDHC2_CMD	0x1d0
			MX8MP_IOMUXC_SD2_DATA0__USDHC2_DATA0	0x1d0
			MX8MP_IOMUXC_SD2_DATA1__USDHC2_DATA1	0x1d0
			MX8MP_IOMUXC_SD2_DATA2__USDHC2_DATA2	0x1d0
			MX8MP_IOMUXC_SD2_DATA3__USDHC2_DATA3	0x1d0
			MX8MP_IOMUXC_GPIO1_IO04__USDHC2_VSELECT	0xc1
		>;
	};

	pinctrl_usdhc2_100mhz: usdhc2-100mhzgrp {
		fsl,pins = <
			MX8MP_IOMUXC_SD2_CLK__USDHC2_CLK	0x194
			MX8MP_IOMUXC_SD2_CMD__USDHC2_CMD	0x1d4
			MX8MP_IOMUXC_SD2_DATA0__USDHC2_DATA0	0x1d4
			MX8MP_IOMUXC_SD2_DATA1__USDHC2_DATA1	0x1d4
			MX8MP_IOMUXC_SD2_DATA2__USDHC2_DATA2	0x1d4
			MX8MP_IOMUXC_SD2_DATA3__USDHC2_DATA3	0x1d4
			MX8MP_IOMUXC_GPIO1_IO04__USDHC2_VSELECT 0xc1
		>;
	};

	pinctrl_usdhc2_200mhz: usdhc2-200mhzgrp {
		fsl,pins = <
			MX8MP_IOMUXC_SD2_CLK__USDHC2_CLK	0x196
			MX8MP_IOMUXC_SD2_CMD__USDHC2_CMD	0x1d6
			MX8MP_IOMUXC_SD2_DATA0__USDHC2_DATA0	0x1d6
			MX8MP_IOMUXC_SD2_DATA1__USDHC2_DATA1	0x1d6
			MX8MP_IOMUXC_SD2_DATA2__USDHC2_DATA2	0x1d6
			MX8MP_IOMUXC_SD2_DATA3__USDHC2_DATA3	0x1d6
			MX8MP_IOMUXC_GPIO1_IO04__USDHC2_VSELECT 0xc1
		>;
	};

	pinctrl_usdhc2_gpio: usdhc2gpiogrp {
		fsl,pins = <
			MX8MP_IOMUXC_SD2_CD_B__GPIO2_IO12	0x1c4
		>;
	};

	pinctrl_usdhc3: usdhc3grp {
		fsl,pins = <
			MX8MP_IOMUXC_NAND_WE_B__USDHC3_CLK	0x190
			MX8MP_IOMUXC_NAND_WP_B__USDHC3_CMD	0x1d0
			MX8MP_IOMUXC_NAND_DATA04__USDHC3_DATA0	0x1d0
			MX8MP_IOMUXC_NAND_DATA05__USDHC3_DATA1	0x1d0
			MX8MP_IOMUXC_NAND_DATA06__USDHC3_DATA2	0x1d0
			MX8MP_IOMUXC_NAND_DATA07__USDHC3_DATA3	0x1d0
			MX8MP_IOMUXC_NAND_RE_B__USDHC3_DATA4	0x1d0
			MX8MP_IOMUXC_NAND_CE2_B__USDHC3_DATA5	0x1d0
			MX8MP_IOMUXC_NAND_CE3_B__USDHC3_DATA6	0x1d0
			MX8MP_IOMUXC_NAND_CLE__USDHC3_DATA7	0x1d0
			MX8MP_IOMUXC_NAND_CE1_B__USDHC3_STROBE	0x190
		>;
	};

	pinctrl_usdhc3_100mhz: usdhc3-100mhzgrp {
		fsl,pins = <
			MX8MP_IOMUXC_NAND_WE_B__USDHC3_CLK	0x194
			MX8MP_IOMUXC_NAND_WP_B__USDHC3_CMD	0x1d4
			MX8MP_IOMUXC_NAND_DATA04__USDHC3_DATA0	0x1d4
			MX8MP_IOMUXC_NAND_DATA05__USDHC3_DATA1	0x1d4
			MX8MP_IOMUXC_NAND_DATA06__USDHC3_DATA2	0x1d4
			MX8MP_IOMUXC_NAND_DATA07__USDHC3_DATA3	0x1d4
			MX8MP_IOMUXC_NAND_RE_B__USDHC3_DATA4	0x1d4
			MX8MP_IOMUXC_NAND_CE2_B__USDHC3_DATA5	0x1d4
			MX8MP_IOMUXC_NAND_CE3_B__USDHC3_DATA6	0x1d4
			MX8MP_IOMUXC_NAND_CLE__USDHC3_DATA7	0x1d4
			MX8MP_IOMUXC_NAND_CE1_B__USDHC3_STROBE	0x194
		>;
	};

	pinctrl_usdhc3_200mhz: usdhc3-200mhzgrp {
		fsl,pins = <
			MX8MP_IOMUXC_NAND_WE_B__USDHC3_CLK	0x196
			MX8MP_IOMUXC_NAND_WP_B__USDHC3_CMD	0x1d6
			MX8MP_IOMUXC_NAND_DATA04__USDHC3_DATA0	0x1d6
			MX8MP_IOMUXC_NAND_DATA05__USDHC3_DATA1	0x1d6
			MX8MP_IOMUXC_NAND_DATA06__USDHC3_DATA2	0x1d6
			MX8MP_IOMUXC_NAND_DATA07__USDHC3_DATA3	0x1d6
			MX8MP_IOMUXC_NAND_RE_B__USDHC3_DATA4	0x1d6
			MX8MP_IOMUXC_NAND_CE2_B__USDHC3_DATA5	0x1d6
			MX8MP_IOMUXC_NAND_CE3_B__USDHC3_DATA6	0x1d6
			MX8MP_IOMUXC_NAND_CLE__USDHC3_DATA7	0x1d6
			MX8MP_IOMUXC_NAND_CE1_B__USDHC3_STROBE	0x196
		>;
	};

	pinctrl_wdog: wdoggrp {
		fsl,pins = <
			MX8MP_IOMUXC_GPIO1_IO02__WDOG1_WDOG_B	0x166
		>;
	};

	pinctrl_csi0_pwn: csi0_pwn_grp {
		fsl,pins = <
			//MX8MP_IOMUXC_SD1_STROBE__GPIO2_IO11	0x10
			MX8MP_IOMUXC_GPIO1_IO15__GPIO1_IO15	0x19 //io board imx219 pwn
		>;
	};

	pinctrl_csi0_rst: csi0_rst_grp {
		fsl,pins = <
			MX8MP_IOMUXC_GPIO1_IO06__GPIO1_IO06		0x10
		>;
	};

	pinctrl_csi_mclk: csi_mclk_grp {
		fsl,pins = <
			MX8MP_IOMUXC_GPIO1_IO15__CCM_CLKO2	0x50
		>;
	};
	pinctrl_lvds_en: lvdsengrp {
                fsl,pins = <
                        MX8MP_IOMUXC_SPDIF_RX__GPIO5_IO04     0x1f
                >;
        };
	pinctrl_pwm2: pwm2grp {
                fsl,pins = <
                        MX8MP_IOMUXC_SAI5_RXD0__PWM2_OUT 0x116
                >;
        };

};

&vpu_g1 {
	status = "okay";
};

&vpu_g2 {
	status = "okay";
};

&vpu_vc8000e {
	status = "okay";
};

&vpu_v4l2 {
	status = "okay";
};

&gpu_3d {
	status = "okay";
};

&gpu_2d {
	status = "okay";
};

&ml_vipsi {
	status = "okay";
};

&mix_gpu_ml {
	status = "okay";
};

&mipi_csi_0 {
	status = "disabled";

};

&mipi_csi_1 {
	#address-cells = <1>;
	#size-cells = <0>;
	status = "disabled";
};

&cameradev {
	status = "okay";
};

&isi_0 {
	status = "disabled";

	cap_device {
		status = "okay";
	};

	m2m_device {
		status = "disabled";
	};
};

&isi_1 {
	status = "disabled";

	cap_device {
		status = "okay";
	};
};
&isp_0 {
	status = "disabled";
};

&dewarp {
	status = "disabled";
};
